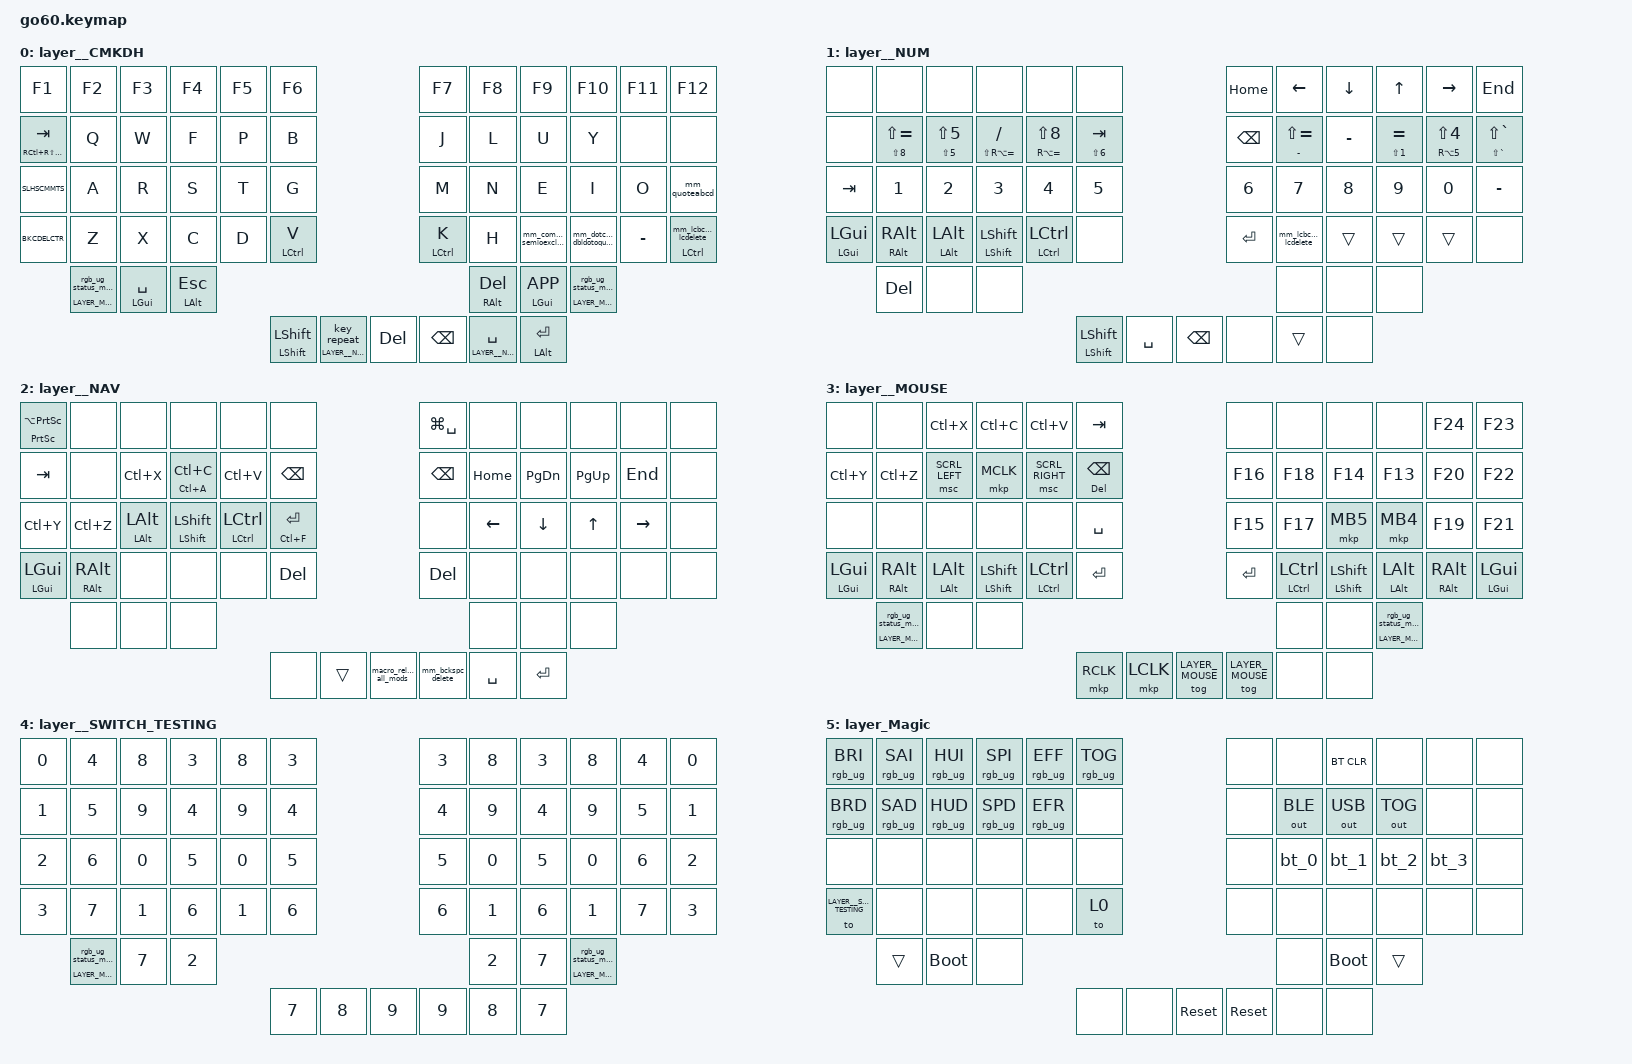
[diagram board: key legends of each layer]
/*
 * Copyright (c) 2020 The ZMK Contributors
 * Copyright (c) 2025 Innaworks Development Limited, trading as MoErgo
 *
 * SPDX-License-Identifier: MIT
 */



/* THIS FILE WAS GENERATED BY GO60 LAYOUT EDITOR
 *
 * This file was generated automatically. You may or may not want to
 * edit it directly.
 */

#include <behaviors.dtsi>

/* Include all behavior includes needed */

#include <dt-bindings/zmk/outputs.h>
#include <dt-bindings/zmk/keys.h>
#include <dt-bindings/zmk/bt.h>
#include <dt-bindings/zmk/rgb.h>

#include <input/processors.dtsi>
#include <dt-bindings/zmk/input_transform.h>
#include <zephyr/dt-bindings/input/input-event-codes.h>

/* On demand includes */
#include <dt-bindings/zmk/input_transform.h>
#include <dt-bindings/zmk/pointing.h>
#include <input/processors.dtsi>

/* Helper Macros, based on https://github.com/urob/zmk-helpers/ */

#pragma once

#define ZMK_HELPER_STRINGIFY(x) #x

// Preprocessor mechanism to overload macros, cf. https://stackoverflow.com/a/27051616/6114651
#define VARGS_(_10, _9, _8, _7, _6, _5, _4, _3, _2, _1, N, ...) N
#define VARGS(...) VARGS_(__VA_ARGS__, 10, 9, 8, 7, 6, 5, 4, 3, 2, 1, 0)
#define CONCAT_(a, b) a##b
#define CONCAT(a, b) CONCAT_(a, b)

#define ZMK_BEHAVIOR_CORE_tap_dance  \
    compatible = "zmk,behavior-tap-dance"; \
    #binding-cells = <0>

#define ZMK_BEHAVIOR(name, type, ...) \
    name: name { \
        ZMK_BEHAVIOR_CORE_ ## type; \
        __VA_ARGS__ \
    };

#define ZMK_TAP_DANCE(name, ...) \
    ZMK_BEHAVIOR(name, tap_dance, __VA_ARGS__)

#define ZMK_TD_LAYER(name, layer) \
    ZMK_TAP_DANCE(name, \
        tapping-term-ms = <200>; \
        bindings = <&mo layer>, <&to layer>; \
)





/* Key positions */

#define POS_LH_C6R1 0
#define POS_LH_C5R1 1
#define POS_LH_C4R1 2
#define POS_LH_C3R1 3
#define POS_LH_C2R1 4
#define POS_LH_C1R1 5
#define POS_RH_C1R1 6
#define POS_RH_C2R1 7
#define POS_RH_C3R1 8
#define POS_RH_C4R1 9
#define POS_RH_C5R1 10
#define POS_RH_C6R1 11
#define POS_LH_C6R2 12
#define POS_LH_C5R2 13
#define POS_LH_C4R2 14
#define POS_LH_C3R2 15
#define POS_LH_C2R2 16
#define POS_LH_C1R2 17
#define POS_RH_C1R2 18
#define POS_RH_C2R2 19
#define POS_RH_C3R2 20
#define POS_RH_C4R2 21
#define POS_RH_C5R2 22
#define POS_RH_C6R2 23
#define POS_LH_C6R3 24
#define POS_LH_C5R3 25
#define POS_LH_C4R3 26
#define POS_LH_C3R3 27
#define POS_LH_C2R3 28
#define POS_LH_C1R3 29
#define POS_RH_C1R3 30
#define POS_RH_C2R3 31
#define POS_RH_C3R3 32
#define POS_RH_C4R3 33
#define POS_RH_C5R3 34
#define POS_RH_C6R3 35
#define POS_LH_C6R4 36
#define POS_LH_C5R4 37
#define POS_LH_C4R4 38
#define POS_LH_C3R4 39
#define POS_LH_C2R4 40
#define POS_LH_C1R4 41
#define POS_RH_C1R4 42
#define POS_RH_C2R4 43
#define POS_RH_C3R4 44
#define POS_RH_C4R4 45
#define POS_RH_C5R4 46
#define POS_RH_C6R4 47
#define POS_LH_C4R5 48
#define POS_LH_C3R5 49
#define POS_LH_C2R5 50
#define POS_RH_C2R5 51
#define POS_RH_C3R5 52
#define POS_RH_C4R5 53
#define POS_LH_T1 54
#define POS_LH_T2 55
#define POS_LH_T3 56
#define POS_RH_T3 57
#define POS_RH_T2 58
#define POS_RH_T1 59


#define LEFT_HAND_KEYS \
  POS_LH_C1R1 POS_LH_C2R1 POS_LH_C3R1 POS_LH_C4R1 POS_LH_C5R1 POS_LH_C6R1 \
  POS_LH_C1R2 POS_LH_C2R2 POS_LH_C3R2 POS_LH_C4R2 POS_LH_C5R2 POS_LH_C6R2 \
  POS_LH_C1R3 POS_LH_C2R3 POS_LH_C3R3 POS_LH_C4R3 POS_LH_C5R3 POS_LH_C6R3 \
  POS_LH_C1R4 POS_LH_C2R4 POS_LH_C3R4 POS_LH_C4R4 POS_LH_C5R4 POS_LH_C6R4 \
              POS_LH_C2R5 POS_LH_C3R5 POS_LH_C4R5

#define RIGHT_HAND_KEYS \
  POS_RH_C1R1 POS_RH_C2R1 POS_RH_C3R1 POS_RH_C4R1 POS_RH_C5R1 POS_RH_C6R1 \
  POS_RH_C1R2 POS_RH_C2R2 POS_RH_C3R2 POS_RH_C4R2 POS_RH_C5R2 POS_RH_C6R2 \
  POS_RH_C1R3 POS_RH_C2R3 POS_RH_C3R3 POS_RH_C4R3 POS_RH_C5R3 POS_RH_C6R3 \
  POS_RH_C1R4 POS_RH_C2R4 POS_RH_C3R4 POS_RH_C4R4 POS_RH_C5R4 POS_RH_C6R4 \
              POS_RH_C2R5 POS_RH_C3R5 POS_RH_C4R5

#define THUMB_KEYS \
  POS_LH_T1 POS_LH_T2 POS_LH_T3 \
  POS_RH_T1 POS_RH_T2 POS_RH_T3

/* Environment and metadata defines */
#define KB_TYPE_GLOVE_80 1
#define KB_TYPE_GO_60    2

#define KB_TYPE          KB_TYPE_GO_60
#define EDITOR_HOST_OS   'W'

/* Automatically generated layer name defines */
#define LAYER__CMKDH 0
#define LAYER__NUM 1
#define LAYER__NAV 2
#define LAYER__MOUSE 3
#define LAYER__SWITCH_TESTING 4
#define LAYER_Magic 5

/* To deal with the situation where there is no Lower layer, to keep &lower happy */
#ifndef LAYER_Lower
#define LAYER_Lower 0
#endif

/* Generated input processors */
/ {
    input_processors {
        zip_button_behavior_0: zip_button_behavior_0 {
            compatible = "zmk,input-processor-behaviors";
            #input-processor-cells = <0>;
            codes = <INPUT_BTN_0>;
            bindings = <&none>;
        };

        zip_button_behavior_1: zip_button_behavior_1 {
            compatible = "zmk,input-processor-behaviors";
            #input-processor-cells = <0>;
            codes = <INPUT_BTN_0>;
            bindings = <&none>;
        };
    };
};

/* Custom Device-tree */
//#define TESTGITHUB  YES
//#define ENABLE_ADAPTIVE YES

#ifdef TESTGITHUB
  #include <behaviors/force_case.dtsi>
#endif

&sl {
  release-after-ms = <600>;                        // medium timeout as the default for sticky layers
};
&sk {
	release-after-ms = <3000>;                     // long timeout as the default for sticky keys so one shots can be stacked, but this doesn't work well when stacking mods
	quick-release;
	//        lazy;                                // with this it doesn't work with mod-morph
	ignore-modifiers;
};



// ************************************************************************************************************************************************************************************************
// ************************************************************************************************************************************************************************************************
// ************************************************************************************************************************************************************************************************



////////////////////////////////////////////////////////////////
// TailorKey 4.2 Go60 - RGB Lighting 
// Paste this configuration into the Custom Device-tree section
// For more into, see https://sites.google.com/view/tailorkey
////////////////////////////////////////////////////////////////



#if __has_include(<dt-bindings/zmk/rgb_colors.h>)
  //
  // Color definitions with conflict guard to prevent
  // accidental redefinition of common abbreviations.
  //
  #if defined(RED) || defined(RED_RGB) || \
	  defined(COR) || defined(COR_RGB) || \
	  defined(ORN) || defined(ORN_RGB) || \
	  defined(GDN) || defined(GDN_RGB) || \
	  defined(GOL) || defined(GOL_RGB) || \
	  defined(YLW) || defined(YLW_RGB) || \
	  defined(CHU) || defined(CHU_RGB) || \
	  defined(GRN) || defined(GRN_RGB) || \
	  defined(SPG) || defined(SPG_RGB) || \
	  defined(CYN) || defined(CYN_RGB) || \
	  defined(AZU) || defined(AZU_RGB) || \
	  defined(TEA) || defined(TEA_RGB) || \
	  defined(TUR) || defined(TUR_RGB) || \
	  defined(BLU) || defined(BLU_RGB) || \
	  defined(PUR) || defined(PUR_RGB) || \
	  defined(MAJ) || defined(MAJ_RGB) || \
	  defined(PNK) || defined(PNK_RGB) || \
	  defined(WHT) || defined(WHT_RGB) || \
	  defined(BLK) || defined(BLK_RGB) || \
	  defined(___) || \
	  defined(DUG) || defined(DUG_RGB) || \
	  defined(LAC) || defined(LAC_RGB) || \
	  defined(BSL) || defined(BNL) || defined(BCL) || \
	  defined(SSL) || defined(SNL) || defined(SCL) || \
	  defined(FST) || defined(WRP) || defined(SLO)
  #error "Naming conflict: 3-letter color abbreviation already defined!"
  #endif

  //
  // color definitions from QMK
  // https://github.com/qmk/qmk_firmware/blob/master/quantum/color.h
  //
  #define RED_RGB 0xFF0000 // #FF0000 RED      => RED (red)
  #define COR_RGB 0xFF7C4D // #FF7C4D CORAL    => COR (coral)
  #define ORN_RGB 0xFF8000 // #FF8000 ORANGE   => ORN (ornj)
  #define GDN_RGB 0xD9A521 // #D9A521 GOLDNROD => GDN (gold'nrod)
  #define GOL_RGB 0xFFD900 // #FFD900 GOLD     => GOL (gold)
  #define YLW_RGB 0xFFFF00 // #FFFF00 YELLOW   => YLW (yellow)
  #define CHU_RGB 0x80FF00 // #80FF00 CHARTRSE => CHU (chartreuse)
  #define GRN_RGB 0x00FF00 // #00FF00 GREEN    => GRN (green)
  #define SPG_RGB 0x00FF80 // #00FF80 SPRINGRN => SPG (spring green)
  #define CYN_RGB 0x00FFFF // #00FFFF CYAN     => CYN (sigh-an)
  #define AZU_RGB 0x99F5FF // #99F5FF AZURE    => AZU (a-zur)
  #define TEA_RGB 0x008080 // #008080 TEAL     => TEA (teel)
  #define TUR_RGB 0x476E6A // #476E6A TURQUOIS => TUR (turquoise)
  #define BLU_RGB 0x0000FF // #0000FF BLUE     => BLU (bloo)
  #define PUR_RGB 0x7A00FF // #7A00FF PURPLE   => PUR (purp)
  #define MAJ_RGB 0xFF00FF // #FF00FF MAGENTA  => MAJ (mah-jenta)
  #define PNK_RGB 0xFF80BF // #FF80BF PINK     => PNK (pink)
  #define WHT_RGB 0xFFFFFF // #FFFFFF WHITE    => WHT (white)
  #define BLK_RGB 0x000000 // #000000 BLACK    => BLK (blak)

  //
  // color definitions from MoErgo
  // https://github.com/moergo-sc/zmk/blob/aca523dfce9b6447ffd19d833b791d44f1f286de/app/src/rgb_underglow.c#L259-L265
  //
  #define DUG_RGB 0x00ff68 // #00ff68 DULL_GRN => DUG (dull green)
  #define LAC_RGB 0x6b1fce // #6b1fce LILAC    => LAC (lilac)

  //
  // underglow for the colors above
  //
  #define RED &ug RED_RGB
  #define COR &ug COR_RGB
  #define ORN &ug ORN_RGB
  #define GDN &ug GDN_RGB
  #define GOL &ug GOL_RGB
  #define YLW &ug YLW_RGB
  #define CHU &ug CHU_RGB
  #define GRN &ug GRN_RGB
  #define SPG &ug SPG_RGB
  #define CYN &ug CYN_RGB
  #define AZU &ug AZU_RGB
  #define TEA &ug TEA_RGB
  #define TUR &ug TUR_RGB
  #define BLU &ug BLU_RGB
  #define PUR &ug PUR_RGB
  #define MAJ &ug MAJ_RGB
  #define PNK &ug PNK_RGB
  #define WHT &ug WHT_RGB
  #define ___ &ug BLK_RGB
  #define _X_ &ug BLK_RGB
  #define DUG &ug DUG_RGB
  #define LAC &ug LAC_RGB
  
  

  //
  // underglow for keyboard locks on the Base layer
  //
  #define BSL &ug_sl BLK_RGB RED_RGB // ScrollLock COLOR_OFF COLOR_ON
  #define BNL &ug_nl BLK_RGB RED_RGB // NumLock    COLOR_OFF COLOR_ON
  #define BCL &ug_cl BLK_RGB RED_RGB // CapsLock   COLOR_OFF COLOR_ON
 
  // same color as the layer editor decorations 
  #define HOM &ug 0x00C3C3    // TEA // for home/main keyr (home keys numpad keys in numpad layer)
  #define MOD &ug 0xBBFCFC // mod-tap keys
  #define XMD &ug 0x97fcfc // mod dedicated
  #define LYR &ug 0xfafa66 // for layer/tap keys
  #define XLY &ug 0xEEEE00 // for layer - dedicated
  #define MUL CHU // for 3+ functions HT or TD keys
  #define SPL PUR // for special keys (magic key, reset, reboot)
  
  

  //
  // colors for mouse speed scaling in Mouse layers
  //
  #define FST GOL
  #define WRP CHU
  #define SLO COR



  // ==== PER-KEY-RGB <section begins> ====
  / {
	underglow-layer {
	  compatible = "zmk,underglow-layer";

	  /*
	  #ifdef LAYER__EMPTY
	  _CMKDH  {
    bindings = <
	
    ___ ___ ___ ___ ___ ___           ___ ___ ___ ___ ___ ___
    ___ ___ ___ ___ ___ ___           ___ ___ ___ ___ ___ ___
    ___ ___ ___ ___ ___ ___           ___ ___ ___ ___ ___ ___
    ___ ___ ___ ___ ___ ___           ___ ___ ___ ___ ___ ___
        ___ ___ ___                           ___ ___ ___ 
                	___ ___ ___   ___ ___ ___ 
					
		>;
		layer-id = <LAYER__EMPTY>;		
		fade-delay = <30>;	  };
	  #endif
*/
   
	  #ifdef LAYER__CMKDH
	  _CMKDH  {
    bindings = <
	
    MUL MUL MUL MUL MUL MUL           BCL ___ ___ ___ ___ ___
    ___ ___ ___ ___ ___ ___           ___ ___ ___ ___ ___ SPL
    MUL HOM HOM HOM HOM ___           ___ HOM HOM HOM HOM MUL
    MOD ___ ___ ___ ___ ___           ___ ___ MUL MUL MUL MOD
        SPL MOD MOD                           MOD MOD SPL
                    XMD LYR LYR   MOD LYR LYR
					
		>;
		layer-id = <LAYER__CMKDH>;		
		fade-delay = <5>;	  };
	  #endif


	  
     #ifdef LAYER__NUM
	  _NUM  {
    bindings = <
	
    ___ ___ ___ ___ ___ ___           ___ ___ ___ ___ ___ ___
    ___ ___ ___ ___ ___ ___           ___ ___ ___ ___ ___ ___
    ___ HOM HOM HOM HOM HOM           HOM HOM HOM HOM HOM ___
    XMD XMD XMD XMD XMD MUL           ___ ___ MUL MUL MUL ___
        ___ ___ ___                           ___ ___ ___ 
                	XMD ___ ___   ___ _X_ ___ 
					
		>;
		layer-id = <LAYER__NUM>;		
		fade-delay = <2>;	  };
	  #endif  	

	  
	  
     #ifdef LAYER__NAV
	  _NAV  {
    bindings = <
	
    ___ SPL SPL SPL SPL ___           SPL ___ ___ ___ SPL SPL
    ___ ___ ___ ___ ___ ___           ___ ___ ___ ___ ___ ___
    ___ ___ XLY XMD XMD ___           ___ HOM HOM HOM HOM ___
    XMD XMD ___ ___ ___ ___           ___ ___ ___ ___ ___ XLY
        ___ ___ ___                           ___ ___ ___ 
                	___ _X_ ___   ___ ___ ___ 
					
		>;
		layer-id = <LAYER__NAV>;		
		fade-delay = <2>;	  };
	 #endif  

	 
	 #ifdef LAYER__MOUSE
	  _MOUSE  {
    bindings = <
	
    ___ ___ ___ ___ ___ ___           ___ ___ ___ ___ ___ ___
    ___ ___ ___ HOM ___ ___           ___ ___ ___ ___ ___ ___
    ___ XLY XLY XLY XLY RED           RED ___ HOM HOM ___ ___
    XMD XMD XMD XMD XMD RED           RED XMD XMD XMD XMD XMD
        SPL ___ ___                           ___ ___ SPL 
                	RED ___ XLY   RED ___ XLY 
					
		>;
		layer-id = <LAYER__MOUSE>;		
		fade-delay = <5>;	  };
	 #endif	 
	 
	 
	
	 #ifdef LAYER__SWITCH_TESTING
	  _SWITCH_TESTING  {
    bindings = <
	
    BSL BCL BNL BSL BCL BNL           BNL BCL BSL BNL BCL BSL
    ___ ___ ___ ___ ___ ___           ___ ___ ___ ___ ___ ___
    ___ ___ ___ ___ ___ ___           ___ ___ ___ ___ ___ ___
    ___ ___ ___ ___ ___ ___           ___ ___ ___ ___ ___ ___
        SPL ___ ___                           ___ ___ SPL 
                	___ ___ ___   ___ ___ ___ 
					
		>;
		layer-id = <LAYER__SWITCH_TESTING>;		
		fade-delay = <5>;	  };
	 #endif	 


	 #ifdef LAYER_Magic
	  Magic  {
    bindings = <
	
    SPL ___ ___ ___ SPL SPL           ___ ___ ___ ___ ___ ___
    SPL ___ ___ ___ SPL ___           ___ HOM HOM HOM ___ ___
    ___ ___ ___ ___ ___ ___           ___ HOM HOM HOM HOM ___
    XLY ___ XLY XLY XLY XLY           ___ ___ ___ ___ ___ ___
        SPL SPL ___                           ___ SPL SPL 
                	___ ___ ___   ___ ___ ___ 
					
		>;
		layer-id = <LAYER_Magic>;		
		fade-delay = <5>;	  };
	 #endif	  


	 
 

	};
  };
  // ==== PER-KEY-RGB <section ends> =====

  #undef RED
  #undef RED_RGB
  #undef COR
  #undef COR_RGB
  #undef ORN
  #undef ORN_RGB
  #undef GDN
  #undef GDN_RGB
  #undef GOL
  #undef GOL_RGB
  #undef YLW
  #undef YLW_RGB
  #undef CHU
  #undef CHU_RGB
  #undef GRN
  #undef GRN_RGB
  #undef SPG
  #undef SPG_RGB
  #undef CYN
  #undef CYN_RGB
  #undef AZU
  #undef AZU_RGB
  #undef TEA
  #undef TEA_RGB
  #undef TUR
  #undef TUR_RGB
  #undef BLU
  #undef BLU_RGB
  #undef PUR
  #undef PUR_RGB
  #undef MAJ
  #undef MAJ_RGB
  #undef PNK
  #undef PNK_RGB
  #undef WHT
  #undef WHT_RGB
  #undef BLK
  #undef BLK_RGB
  #undef ___
  #undef DUG
  #undef DUG_RGB
  #undef LAC
  #undef LAC_RGB

  #undef BSL
  #undef BNL
  #undef BCL

  #undef SSL
  #undef SNL
  #undef SCL

  #undef FST
  #undef WRP
  #undef SLO
#endif





/* Input Listeners */
&cirque_rh_listener {
    input-processors = <&zip_xy_scaler 2 1>, <&zip_temp_layer LAYER__MOUSE 9999>;
};

&cirque_lh_listener {
    input-processors = <&zip_x_scaler 0 1>, <&zip_y_scaler 1 16>, <&zip_xy_transform INPUT_TRANSFORM_Y_INVERT>, <&zip_xy_to_scroll_mapper>, <&zip_button_behavior_0>, <&zip_temp_layer LAYER__MOUSE 10000>;
    layer__MOUSE {
        layers = <LAYER__MOUSE>;
        input-processors = <&zip_x_scaler 0 1>, <&zip_y_scaler 1 16>, <&zip_xy_transform INPUT_TRANSFORM_Y_INVERT>, <&zip_xy_to_scroll_mapper>, <&zip_button_behavior_1>;
    };
};

/* System behavior and macros */
/ {
    behaviors {
        ZMK_TD_LAYER(lower, LAYER_Lower)
    };
};

/ {
    macros {
        rgb_ug_status_macro: rgb_ug_status_macro {
            label = "RGB_UG_STATUS";
            compatible = "zmk,behavior-macro";
            #binding-cells = <0>;
            bindings
                = <&rgb_ug RGB_STATUS>;
        };
    };
};

/ {
#ifdef BT_DISC_CMD
    behaviors {
        bt_0: bt_0 {
            compatible = "zmk,behavior-tap-dance";
            label = "BT_0";
            #binding-cells = <0>;
            tapping-term-ms = <200>;
            bindings = <&bt_select_0>, <&bt BT_DISC 0>;
        };
        bt_1: bt_1 {
            compatible = "zmk,behavior-tap-dance";
            label = "BT_1";
            #binding-cells = <0>;
            tapping-term-ms = <200>;
            bindings = <&bt_select_1>, <&bt BT_DISC 1>;
        };
        bt_2: bt_2 {
            compatible = "zmk,behavior-tap-dance";
            label = "BT_2";
            #binding-cells = <0>;
            tapping-term-ms = <200>;
            bindings = <&bt_select_2>, <&bt BT_DISC 2>;
        };
        bt_3: bt_3 {
            compatible = "zmk,behavior-tap-dance";
            label = "BT_3";
            #binding-cells = <0>;
            tapping-term-ms = <200>;
            bindings = <&bt_select_3>, <&bt BT_DISC 3>;
        };
    };
    macros {
        bt_select_0: bt_select_0 {
            label = "BT_SELECT_0";
            compatible = "zmk,behavior-macro";
            #binding-cells = <0>;
            bindings
                = <&out OUT_BLE>,
                  <&bt BT_SEL 0>;
        };
        bt_select_1: bt_select_1 {
            label = "BT_SELECT_1";
            compatible = "zmk,behavior-macro";
            #binding-cells = <0>;
            bindings
                = <&out OUT_BLE>,
                  <&bt BT_SEL 1>;
        };
        bt_select_2: bt_select_2 {
            label = "BT_SELECT_2";
            compatible = "zmk,behavior-macro";
            #binding-cells = <0>;
            bindings
                = <&out OUT_BLE>,
                  <&bt BT_SEL 2>;
        };
        bt_select_3: bt_select_3 {
            label = "BT_SELECT_3";
            compatible = "zmk,behavior-macro";
            #binding-cells = <0>;
            bindings
                = <&out OUT_BLE>,
                  <&bt BT_SEL 3>;
        };
    };
#else
    macros {
        bt_0: bt_0 {
            label = "BT_0";
            compatible = "zmk,behavior-macro";
            #binding-cells = <0>;
            bindings
                = <&out OUT_BLE>,
                  <&bt BT_SEL 0>;
        };
        bt_1: bt_1 {
            label = "BT_1";
            compatible = "zmk,behavior-macro";
            #binding-cells = <0>;
            bindings
                = <&out OUT_BLE>,
                  <&bt BT_SEL 1>;
        };
        bt_2: bt_2 {
            label = "BT_2";
            compatible = "zmk,behavior-macro";
            #binding-cells = <0>;
            bindings
                = <&out OUT_BLE>,
                  <&bt BT_SEL 2>;
        };
        bt_3: bt_3 {
            label = "BT_3";
            compatible = "zmk,behavior-macro";
            #binding-cells = <0>;
            bindings
                = <&out OUT_BLE>,
                  <&bt BT_SEL 3>;
        };
    };
#endif
};

/ {
    behaviors {
        magic: magic {
            compatible = "zmk,behavior-hold-tap";
            label = "MAGIC_HOLD_TAP";
            #binding-cells = <2>;
            flavor = "tap-preferred";
            tapping-term-ms = <200>;
            bindings = <&mo>, <&rgb_ug_status_macro>;
        };
    };
};


/* Custom Defined Behaviors */
/ {
// ENABLE  NEXT DEFINE IN ORDER TO ALLOW MODULES BY COMPILING IN GITHUB
// DISABLE NEXT DEFINE IN ORDER TO ALLOW COMPILING IN THE LAYOUT EDITOR


#define SLHSCMMTS    ht_slashes_iniendcomments 0 0                //  /  \     / *  * /
#define BKCDELCTR    ht_backspace_delete_ctrl LCTRL 0             // ⌫ ⌦ ⎈


behaviors {
// ******************************************************************** 
// ******************************************************************** 
// ******************************************************************** 
  #ifdef TESTGITHUB                                  // won't be included if it's not defined
    
    #define KEY_TEST__    fucase A
  #endif


// ******************************************************************** 
// ******************************************************************** 
// ******************************************************************** 


  sk_quick: sticky_key_quick_release {            // to use with Sticky shift/rep/nav
    compatible = "zmk,behavior-sticky-key";
    #binding-cells = <1>;
    bindings = <&kp>;
    release-after-ms = <600>;
    quick-release;
    ignore-modifiers;
  };



  // *
  // *
  // ******************************************************************** STICKY LAYER DO


  // , → ;
  mm_comma_semi: mm_comma_semi{ compatible = "zmk,behavior-mod-morph";   #binding-cells = <0>; 
    bindings = <&kp COMMA>, <&kp SEMI>;   mods = <(MOD_LSFT|MOD_RSFT)>;
  };






  #ifdef TESTGITHUB          // 

  #endif
  


  // *
  // *
  // ******************************************************************** / \   / *  * /  
  //  / → \   ___
  mm_slash_backslash: mm_slash_backslash{
    compatible = "zmk,behavior-mod-morph";
    #binding-cells = <0>;
    bindings = <&kp FSLH>, <&kp NON_US_BSLH>;
    mods = <(MOD_LSFT|MOD_RSFT)>;
  };

  // / * → * /  __
  mm_inicomment_endcomment: mm_inicomment_endcomment{
    compatible = "zmk,behavior-mod-morph";
    #binding-cells = <0>;
    bindings = <&macroUI_1tap_1tap FSLH LS(N8)>, <&macroUI_1tap_1tap LS(N8) FSLH>;
    mods = <(MOD_LSFT|MOD_RSFT)>;
  };

  //  /  \     / *  * /
  ht_slashes_iniendcomments: ht_slashes_iniendcomments{label = "ht_slashes_iniendcomments";  compatible = "zmk,behavior-hold-tap"; #binding-cells = <2>;
    tapping-term-ms = <280>; quick-tap-ms = <125>; flavor = "tap-preferred";
    bindings = <&mm_inicomment_endcomment>, <&mm_slash_backslash>;  
  };

  // *
  // *
  // ******************************************************************** ' ` " ^
  // ' (") → ` (^)
  mm_quoteabcd: mm_quoteabcd{
    compatible = "zmk,behavior-mod-morph";    #binding-cells = <0>;
    bindings = <&HTUI_1tap_1tap LS(SQT) SQT>, <&HTUI_1tap_1tap LS(N6) GRAVE>;    mods = <(MOD_LSFT|MOD_RSFT)>;
  };

  // *
  // *
  // ******************************************************************** ⌫ ⌦ ⎈ 
  //  ⌫ → ⌦
  mm_bckspc_delete: mm_bckspc_delete{
    compatible = "zmk,behavior-mod-morph";
    #binding-cells = <0>;
    bindings = <&kp BSPC>, <&kp DEL>;
    mods = <(MOD_LSFT|MOD_RSFT|MOD_LALT)>;
  };
  //  ⎈⌫ → ⎈⌦
  mm_lcbckspc_lcdelete: mm_lcbckspc_lcdelete{
    compatible = "zmk,behavior-mod-morph";
    #binding-cells = <0>;
    bindings = <&kp LC(BSPC)>, <&kp LC(DEL)>;
    mods = <(MOD_LSFT|MOD_RSFT|MOD_LALT)>;
  };

  //  ⌫ ⌦ ⎈
  ht_backspace_delete_ctrl: ht_backspace_delete_ctrl{label = "ht_backspace_delete_ctrl";  compatible = "zmk,behavior-hold-tap"; #binding-cells = <2>;
    tapping-term-ms = <200>; quick-tap-ms = <125>; flavor = "hold-preferred";
    bindings = <&kp>, <&mm_bckspc_delete>;  
  };
  //  ⌫W ⌦W ⎈  delete word backwards and forward with a single tap or CTRL when hold
  ht_delword_ctrl: ht_delword_ctrl{label = "ht_delword_ctrl";  compatible = "zmk,behavior-hold-tap"; #binding-cells = <2>;
    tapping-term-ms = <200>; quick-tap-ms = <125>; flavor = "hold-preferred";
    bindings = <&kp>, <&mm_lcbckspc_lcdelete>;  
  };


  // *
  // *
  // ******************************************************************** . :   > ≥   
  // , (!) → ; (¡)
  mm_commacexclam_semioexclam: mm_commacexclam_semioexclam{ compatible = "zmk,behavior-mod-morph";   #binding-cells = <0>; 
    bindings = <&HTUI_1tap_kp_tpref LS(N1) COMMA>, <&HTUI_1tap_kp_tpref RA(N1) SEMI>;   mods = <(MOD_LSFT|MOD_RSFT)>;
  };
  // . (?) → : (¿)
  mm_dotcquest_dbldotoquest: mm_dotcquest_dbldotoquest{ compatible = "zmk,behavior-mod-morph";   #binding-cells = <0>; 
    bindings = <&HTUI_1tap_kp_tpref LS(FSLH) DOT>, <&HTUI_1tap_kp_tpref RA(FSLH) LS(SEMI)>;   mods = <(MOD_LSFT|MOD_RSFT)>;
  };



  // ******************************************************************** custom_caps_word   NOT 
  caps_word {
    continue-list = <
      UNDERSCORE MINUS LS(MINUS) 
      BACKSPACE DELETE
      N1 N2 N3 N4 N5 N6 N7 N8 N9 N0 SQT LS(SQT)  LS(N9) LS(N0) FSLH BSLH LS(COMMA) LS(SEMI) LS(DOT) LS(BSLH) 
    >;
  };




};
  






};

/* Automatically generated macro definitions */
/ {
    macros {

        // Just shifts the key sent with a parameter. Chained to &HTUI_AUTOSHIFT_shiftkey_kp and &macroUI_AUTOSHIFT_SHIFTKEY
        macroUI_AUTOSHIFT_SHIFTKEY: macroUI_AUTOSHIFT_SHIFTKEY {
            label = "&MACROUI_AUTOSHIFT_SHIFTKEY";
            compatible = "zmk,behavior-macro-one-param";
            #binding-cells = <1>;
            tap-ms = <0>;
            wait-ms = <0>;
            bindings = <&macro_press>
                , <&kp LSHFT>
                , <&macro_tap>
                , <&macro_param_1to1>
                , <&kp MACRO_PLACEHOLDER>
                , <&macro_release>
                , <&kp LSHFT>;
        };

        macro_release_all_mods: macro_release_all_mods {
            label = "&MACRO_RELEASE_ALL_MODS";
            compatible = "zmk,behavior-macro";
            #binding-cells = <0>;
            bindings = <&macro_release>
                , <&kp LGUI>
                , <&kp RGUI>
                , <&kp LALT>
                , <&kp RALT>
                , <&kp LSHFT>
                , <&kp RSHFT>
                , <&kp LCTRL>
                , <&kp RCTRL>;
        };

        macroBothBrace: macroBothBrace {
            label = "&MACROBOTHBRACE";
            compatible = "zmk,behavior-macro";
            #binding-cells = <0>;
            tap-ms = <0>;
            wait-ms = <0>;
            bindings = <&kp LS(LBKT)>
                , <&kp LS(RBKT)>;
        };

        macroBothBracket: macroBothBracket {
            label = "&MACROBOTHBRACKET";
            compatible = "zmk,behavior-macro";
            #binding-cells = <0>;
            tap-ms = <0>;
            wait-ms = <0>;
            bindings = <&kp LBKT>
                , <&kp RBKT>;
        };

        macroBothPar: macroBothPar {
            label = "&MACROBOTHPAR";
            compatible = "zmk,behavior-macro";
            #binding-cells = <0>;
            tap-ms = <0>;
            wait-ms = <0>;
            bindings = <&kp LS(N9)>
                , <&kp LS(N0)>;
        };

        // Reusable macro for sending single taps, often with the purpose of avoiding repeating a tap on hold-taps
        macroUI_1tap: macroUI_1tap {
            label = "&MACROUI_1TAP";
            compatible = "zmk,behavior-macro-one-param";
            #binding-cells = <1>;
            tap-ms = <0>;
            wait-ms = <0>;
            bindings = <&macro_tap>
                , <&macro_param_1to1>
                , <&kp MACRO_PLACEHOLDER>;
        };

        // For encapsulating two taps with two parameters into a single macro to be used in other behaviors
        macroUI_1tap_1tap: macroUI_1tap_1tap {
            label = "&MACROUI_1TAP_1TAP";
            compatible = "zmk,behavior-macro-two-param";
            #binding-cells = <2>;
            tap-ms = <0>;
            wait-ms = <0>;
            bindings = <&macro_tap>
                , <&macro_param_1to1>
                , <&kp MACRO_PLACEHOLDER>
                , <&macro_param_2to1>
                , <&kp MACRO_PLACEHOLDER>;
        };

        // To send special characters using the Eurkey layout
        macroUI_EurkeySHFTM: macroUI_EurkeySHFTM {
            label = "&MACROUI_EURKEYSHFTM";
            compatible = "zmk,behavior-macro-one-param";
            #binding-cells = <1>;
            tap-ms = <0>;
            wait-ms = <0>;
            bindings = <&macro_tap>
                , <&kp LS(RA(M))>
                , <&macro_param_1to1>
                , <&kp MACRO_PLACEHOLDER>;
        };

        // “ ”
        macroBothAsymmetricQuote: macroBothAsymmetricQuote {
            label = "&MACROBOTHASYMMETRICQUOTE";
            compatible = "zmk,behavior-macro";
            #binding-cells = <0>;
            tap-ms = <0>;
            wait-ms = <0>;
            bindings = <&kp RA(N9)>
                , <&kp RA(N0)>;
        };
    };
};

/* Automatically generated behavior definitions */
/ {
    behaviors {


        // Called from macroUI_AUTOSHIFT_HOLDTAP so with a single parameter can be used twice, once for the hold and once for the tap.
        HTUI_AUTOSHIFT_shiftkey_kp: HTUI_AUTOSHIFT_shiftkey_kp {
            compatible = "zmk,behavior-hold-tap";
            #binding-cells = <2>;
            tapping-term-ms = <250>;
            bindings = <&macroUI_AUTOSHIFT_SHIFTKEY>, <&kp>;
            flavor = "tap-preferred";
        };

        // Encapsulating hold-taps for using them in tap-dances
        HTUI_1tap_1tap: HTUI_1tap_1tap {
            compatible = "zmk,behavior-hold-tap";
            #binding-cells = <2>;
            tapping-term-ms = <250>;
            bindings = <&macroUI_1tap>, <&macroUI_1tap>;
            flavor = "tap-preferred";
        };

        HTUI_1tap_kp_tpref: HTUI_1tap_kp_tpref {
            compatible = "zmk,behavior-hold-tap";
            #binding-cells = <2>;
            tapping-term-ms = <250>;
            bindings = <&macroUI_1tap>, <&kp>;
            flavor = "tap-preferred";
            quick-tap-ms = <200>;
            require-prior-idle-ms = <0>;
        };

        HTUI_1tap_kp_tpref_350: HTUI_1tap_kp_tpref_350 {
            compatible = "zmk,behavior-hold-tap";
            #binding-cells = <2>;
            tapping-term-ms = <350>;
            bindings = <&macroUI_1tap>, <&kp>;
            flavor = "tap-preferred";
            quick-tap-ms = <200>;
            require-prior-idle-ms = <0>;
        };

        HTUI_bothbrace_bothpar: HTUI_bothbrace_bothpar {
            compatible = "zmk,behavior-hold-tap";
            #binding-cells = <2>;
            tapping-term-ms = <350>;
            bindings = <&macroBothBrace>, <&macroBothPar>;
            flavor = "tap-preferred";
            require-prior-idle-ms = <150>;
        };

        // For sending special Eurkey character from first parameter and a regular one from the second with a macro to avoid repeat keys.
        HTUI_EurShft_1tap: HTUI_EurShft_1tap {
            compatible = "zmk,behavior-hold-tap";
            #binding-cells = <2>;
            tapping-term-ms = <200>;
            bindings = <&macroUI_EurkeySHFTM>, <&macroUI_1tap>;
            flavor = "tap-preferred";
        };

        // For sending special Eurkey character from first parameter and a regular tap from the second
        HTUI_EurShft_EurShft: HTUI_EurShft_EurShft {
            compatible = "zmk,behavior-hold-tap";
            #binding-cells = <2>;
            tapping-term-ms = <200>;
            bindings = <&macroUI_EurkeySHFTM>, <&macroUI_EurkeySHFTM>;
            flavor = "tap-preferred";
        };

        // For sending special Eurkey character from first parameter and a regular tap from the second
        HTUI_EurShft_kp: HTUI_EurShft_kp {
            compatible = "zmk,behavior-hold-tap";
            #binding-cells = <2>;
            tapping-term-ms = <400>;
            bindings = <&macroUI_EurkeySHFTM>, <&kp>;
            flavor = "tap-preferred";
        };

        // Generic hold-tap with quick tap
        HTUI_kp_kp_tpref_250_200_125: HTUI_kp_kp_tpref_250_200_125 {
            compatible = "zmk,behavior-hold-tap";
            #binding-cells = <2>;
            tapping-term-ms = <250>;
            bindings = <&kp>, <&kp>;
            flavor = "tap-preferred";
            quick-tap-ms = <200>;
            require-prior-idle-ms = <125>;
        };

        // Generic hold-tap with quick tap
        HTUI_kp_kp_tpref_350_200_200: HTUI_kp_kp_tpref_350_200_200 {
            compatible = "zmk,behavior-hold-tap";
            #binding-cells = <2>;
            tapping-term-ms = <350>;
            bindings = <&kp>, <&kp>;
            flavor = "tap-preferred";
            quick-tap-ms = <200>;
            require-prior-idle-ms = <200>;
        };

        HTUI_kp_sk_tpref_250_0_0: HTUI_kp_sk_tpref_250_0_0 {
            compatible = "zmk,behavior-hold-tap";
            #binding-cells = <2>;
            tapping-term-ms = <250>;
            bindings = <&kp>, <&sk>;
            flavor = "tap-preferred";
        };

        HTUI_mo_kp_tpref_250_200_50: HTUI_mo_kp_tpref_250_200_50 {
            compatible = "zmk,behavior-hold-tap";
            #binding-cells = <2>;
            tapping-term-ms = <250>;
            bindings = <&mo>, <&kp>;
            flavor = "tap-preferred";
            quick-tap-ms = <200>;
            require-prior-idle-ms = <50>;
        };

        HTUI_mo_rep_tpref_280_200_0: HTUI_mo_rep_tpref_280_200_0 {
            compatible = "zmk,behavior-hold-tap";
            #binding-cells = <2>;
            tapping-term-ms = <280>;
            bindings = <&mo>, <&key_repeat>;
            flavor = "tap-preferred";
            quick-tap-ms = <200>;
        };

        // [] “”
        HTUI_bothbracket_bothasymmquot: HTUI_bothbracket_bothasymmquot {
            compatible = "zmk,behavior-hold-tap";
            #binding-cells = <2>;
            tapping-term-ms = <350>;
            bindings = <&macroBothAsymmetricQuote>, <&macroBothBracket>;
            flavor = "tap-preferred";
            require-prior-idle-ms = <150>;
        };
    };
};

/* Automatically generated combos definitions */
/ {
    combos {
        compatible = "zmk,combos";

        combo_combo_ParBraceBoth {
            timeout-ms = <60>;
            key-positions = <POS_RH_C2R4 POS_RH_C3R4 POS_RH_C4R4>;
            bindings = <&HTUI_bothbrace_bothpar 0 0>;
            layers = <LAYER__CMKDH>;
            require-prior-idle-ms = <100>;
        };

        // <>
        combo_combo_MoreThanLessThan {
            timeout-ms = <60>;
            key-positions = <POS_LH_C4R4 POS_LH_C3R4 POS_LH_C2R4>;
            bindings = <&macroUI_1tap_1tap LS(COMMA) LS(DOT)>;
            layers = <LAYER__CMKDH LAYER__NUM>;
            require-prior-idle-ms = <200>;
        };

        // [] “”
        combo_combo_BracketAsymmQotBoth {
            timeout-ms = <60>;
            key-positions = <POS_RH_C2R2 POS_RH_C3R2 POS_RH_C4R2>;
            bindings = <&HTUI_bothbracket_bothasymmquot 0 0>;
            layers = <LAYER__CMKDH LAYER__NUM>;
            require-prior-idle-ms = <250>;
        };

        combo_TOBASE_R {
            timeout-ms = <70>;
            key-positions = <POS_RH_C6R2 POS_RH_C6R3>;
            bindings = <&to 0>;
        };

        combo_TOBASE_L {
            timeout-ms = <70>;
            key-positions = <POS_LH_C6R2 POS_LH_C6R3>;
            bindings = <&to 0>;
        };

        combo_combo_Arroba {
            timeout-ms = <50>;
            key-positions = <POS_RH_C1R3 POS_RH_C2R3>;
            bindings = <&kp LS(N2)>;
            layers = <LAYER__CMKDH LAYER__NUM>;
            require-prior-idle-ms = <200>;
        };

        // ) }
        combo_combo_ParBraceRight {
            timeout-ms = <60>;
            key-positions = <POS_RH_C3R4 POS_RH_C4R4>;
            bindings = <&HTUI_1tap_kp_tpref_350 LS(RBKT) LS(N0)>;
            layers = <LAYER__CMKDH LAYER__NUM>;
            require-prior-idle-ms = <50>;
        };

        // < ≤
        combo_combo_LessThan {
            timeout-ms = <60>;
            key-positions = <POS_LH_C4R4 POS_LH_C3R4>;
            bindings = <&HTUI_EurShft_1tap LS(COMMA) LS(COMMA)>;
            layers = <LAYER__CMKDH LAYER__NUM>;
            require-prior-idle-ms = <50>;
        };

        // > ≥
        combo_combo_MoreThan {
            timeout-ms = <60>;
            key-positions = <POS_LH_C3R4 POS_LH_C2R4>;
            bindings = <&HTUI_EurShft_1tap LS(DOT) LS(DOT)>;
            layers = <LAYER__CMKDH LAYER__NUM>;
            require-prior-idle-ms = <50>;
        };

        combo_combo_Percent {
            timeout-ms = <60>;
            key-positions = <POS_LH_C3R2 POS_LH_C2R2>;
            bindings = <&kp LS(N5)>;
            layers = <LAYER__CMKDH LAYER__NUM>;
            require-prior-idle-ms = <100>;
        };

        combo_combo_Pipe {
            timeout-ms = <60>;
            key-positions = <POS_LH_C2R2 POS_LH_C1R2>;
            bindings = <&kp LS(BSLH)>;
            layers = <LAYER__CMKDH LAYER__NUM>;
            require-prior-idle-ms = <100>;
        };

        combo_combo_Hash {
            timeout-ms = <60>;
            key-positions = <POS_RH_C1R2 POS_RH_C2R2>;
            bindings = <&kp LS(N3)>;
            layers = <LAYER__CMKDH LAYER__NUM>;
            require-prior-idle-ms = <100>;
        };

        combo_combo_Insert {
            timeout-ms = <60>;
            key-positions = <POS_RH_C3R2 POS_RH_C4R2>;
            bindings = <&kp INS>;
            layers = <LAYER__NAV>;
            require-prior-idle-ms = <100>;
        };

        // check if this position for & works well enough
        combo_combo_Amper {
            timeout-ms = <60>;
            key-positions = <POS_LH_C2R3 POS_LH_C1R3>;
            bindings = <&kp LS(N7)>;
            layers = <LAYER__CMKDH LAYER__NUM>;
            require-prior-idle-ms = <100>;
        };

        combo_combo_Asterisk {
            timeout-ms = <60>;
            key-positions = <POS_LH_C3R3 POS_LH_C2R3>;
            bindings = <&kp LS(N8)>;
            layers = <LAYER__CMKDH LAYER__NUM>;
            require-prior-idle-ms = <250>;
        };

        combo_combo_ContextMenu {
            timeout-ms = <60>;
            key-positions = <POS_LH_C2R4 POS_LH_C1R4>;
            bindings = <&kp K_CONTEXT_MENU>;
            layers = <LAYER__CMKDH LAYER__NUM>;
            require-prior-idle-ms = <100>;
        };

        // [ “
        combo_combo_BracketAsymmQotLeft {
            timeout-ms = <60>;
            key-positions = <POS_RH_C2R2 POS_RH_C3R2>;
            bindings = <&HTUI_1tap_kp_tpref_350 RA(N9) LBKT>;
            layers = <LAYER__CMKDH LAYER__NUM>;
            require-prior-idle-ms = <100>;
        };

        // ] ”
        combo_combo_BracketAsymmQotRight {
            timeout-ms = <60>;
            key-positions = <POS_RH_C3R2 POS_RH_C4R2>;
            bindings = <&HTUI_1tap_kp_tpref_350 RA(N0) RBKT>;
            layers = <LAYER__CMKDH LAYER__NUM>;
            require-prior-idle-ms = <100>;
        };

        // ( {
        combo_combo_ParBraceLeft {
            timeout-ms = <60>;
            key-positions = <POS_RH_C2R4 POS_RH_C3R4>;
            bindings = <&HTUI_1tap_kp_tpref LS(LBKT) LS(N9)>;
            layers = <LAYER__CMKDH LAYER__NUM>;
            require-prior-idle-ms = <50>;
        };
    };
};

/* Automatically generated keymap */
/ {
    keymap {
        compatible = "zmk,keymap";


        layer__CMKDH {
            bindings = <
                                        &kp F1  &kp F2                &kp F3                                    &kp F4                                  &kp F5                                 &kp F6                                                                                                                                                                                                                             &kp F7                                  &kp F8                                    &kp F9                     &kp F10    &kp F11                   &kp F12
 &HTUI_kp_kp_tpref_350_200_200 RC(RS(F23)) TAB   &kp Q                 &kp W                                     &kp F                                   &kp P                                  &kp B                                                                                                                                                                                                                              &kp J                                   &kp L                                     &kp U                       &kp Y      &none                     &none
                                    &SLHSCMMTS   &kp A                 &kp R                                     &kp S                                   &kp T                                  &kp G                                                                                                                                                                                                                              &kp M                                   &kp N                                     &kp E                       &kp I      &kp O             &mm_quoteabcd
                                    &BKCDELCTR   &kp Z                 &kp X                                     &kp C                                   &kp D  &HTUI_kp_kp_tpref_350_200_200 LCTRL V                                                                                                                                                                                              &HTUI_kp_kp_tpref_350_200_200 LCTRL K                                   &kp H              &mm_commacexclam_semioexclam  &mm_dotcquest_dbldotoquest  &kp MINUS  &ht_delword_ctrl LCTRL 0
                                                        &magic LAYER_Magic 0  &HTUI_kp_kp_tpref_250_200_125 LGUI SPACE  &HTUI_kp_kp_tpref_250_200_125 LALT ESC                                                                                                                                                                                                                                                                            &HTUI_kp_kp_tpref_250_200_125 RALT DEL  &HTUI_kp_kp_tpref_250_200_125 LGUI K_APP        &magic LAYER_Magic 0
                                                                                                                                                                                                       &HTUI_kp_sk_tpref_250_0_0 LSHFT LSHFT  &HTUI_mo_rep_tpref_280_200_0 LAYER__NAV 0  &kp DEL  &kp BSPC  &HTUI_mo_kp_tpref_250_200_50 LAYER__NUM SPACE  &HTUI_kp_kp_tpref_250_200_125 LALT RET
            >;
        };

        layer__NUM {
            bindings = <
                               &none                                   &none                                &none                                   &none                                  &none                           &none                                                                                      &kp HOME                          &kp LEFT   &kp DOWN                         &kp UP                          &kp RIGHT                               &kp END
                               &none  &HTUI_EurShft_EurShft LS(N8) LS(EQUAL)       &HTUI_EurShft_kp LS(N5) LS(N5)  &HTUI_1tap_kp_tpref LS(RA(EQUAL)) FSLH   &HTUI_1tap_kp_tpref RA(EQUAL) LS(N8)  &HTUI_1tap_kp_tpref LS(N6) TAB                                                                                      &kp BSPC  &HTUI_EurShft_kp MINUS LS(EQUAL)  &kp MINUS  &HTUI_EurShft_kp LS(N1) EQUAL  &HTUI_1tap_kp_tpref RA(N5) LS(N4)  &HTUI_EurShft_kp LS(GRAVE) LS(GRAVE)
                             &kp TAB                                  &kp N1                               &kp N2                                  &kp N3                                 &kp N4                          &kp N5                                                                                        &kp N6                            &kp N7     &kp N8                         &kp N9                             &kp N0                             &kp MINUS
 &HTUI_kp_sk_tpref_250_0_0 LGUI LGUI     &HTUI_kp_sk_tpref_250_0_0 RALT RALT  &HTUI_kp_sk_tpref_250_0_0 LALT LALT   &HTUI_kp_sk_tpref_250_0_0 LSHFT LSHFT  &HTUI_kp_sk_tpref_250_0_0 LCTRL LCTRL                           &none                                                                                       &kp RET             &mm_lcbckspc_lcdelete     &trans                         &trans                             &trans                                 &none
                                                                                                          &kp DEL                                   &none                                  &none                                                                                                                                                           &none      &none                          &none
                                                                                                                                                                                                                                  &HTUI_kp_sk_tpref_250_0_0 LSHFT LSHFT  &kp SPACE  &kp BSPC   &none  &trans   &none
            >;
        };

        layer__NAV {
            bindings = <
     &HTUI_1tap_1tap PSCRN LA(PSCRN)                                &none                                &none                                  &none                                  &none                          &none                                                                                  &kp LG(SPACE)     &none      &none      &none      &none   &none
                             &kp TAB                                &none                            &kp LC(X)        &HTUI_1tap_kp_tpref LC(A) LC(C)                              &kp LC(V)                       &kp BSPC                                                                                       &kp BSPC  &kp HOME  &kp PG_DN  &kp PG_UP    &kp END   &none
                           &kp LC(Y)                            &kp LC(Z)  &HTUI_kp_sk_tpref_250_0_0 LALT LALT  &HTUI_kp_sk_tpref_250_0_0 LSHFT LSHFT  &HTUI_kp_sk_tpref_250_0_0 LCTRL LCTRL  &HTUI_1tap_kp_tpref LC(F) RET                                                                                          &none  &kp LEFT   &kp DOWN     &kp UP  &kp RIGHT   &none
 &HTUI_kp_sk_tpref_250_0_0 LGUI LGUI  &HTUI_kp_sk_tpref_250_0_0 RALT RALT                                &none                                  &none                                  &none                        &kp DEL                                                                                        &kp DEL     &none      &none      &none      &none   &none
                                                                                                         &none                                  &none                                  &none                                                                                                                                   &none      &none      &none
                                                                                                                                                                                                                              &none  &trans  &macro_release_all_mods  &mm_bckspc_delete  &kp SPACE  &kp RET
            >;
        };

        layer__MOUSE {
            bindings = <
                               &none                                &none                            &kp LC(X)                              &kp LC(C)                              &kp LC(V)                       &kp TAB                                                                                &none                                  &none                                  &none                                &none                              &kp F24                              &kp F23
                           &kp LC(Y)                            &kp LC(Z)                       &msc SCRL_LEFT                              &mkp MCLK                        &msc SCRL_RIGHT  &HTUI_1tap_kp_tpref DEL BSPC                                                                              &kp F16                                &kp F18                                &kp F14                              &kp F13                              &kp F20                              &kp F22
                               &none                                &none                                &none                                  &none                                  &none                     &kp SPACE                                                                              &kp F15                                &kp F17                               &mkp MB5                             &mkp MB4                              &kp F19                              &kp F21
 &HTUI_kp_sk_tpref_250_0_0 LGUI LGUI  &HTUI_kp_sk_tpref_250_0_0 RALT RALT  &HTUI_kp_sk_tpref_250_0_0 LALT LALT  &HTUI_kp_sk_tpref_250_0_0 LSHFT LSHFT  &HTUI_kp_sk_tpref_250_0_0 LCTRL LCTRL                       &kp RET                                                                              &kp RET  &HTUI_kp_sk_tpref_250_0_0 LCTRL LCTRL  &HTUI_kp_sk_tpref_250_0_0 LSHFT LSHFT  &HTUI_kp_sk_tpref_250_0_0 LALT LALT  &HTUI_kp_sk_tpref_250_0_0 RALT RALT  &HTUI_kp_sk_tpref_250_0_0 LGUI LGUI
                                                                                          &magic LAYER_Magic 0                                  &none                                  &none                                                                                                                                                     &none                                  &none                 &magic LAYER_Magic 0
                                                                                                                                                                                                                            &mkp RCLK  &mkp LCLK  &tog LAYER__MOUSE  &tog LAYER__MOUSE   &none   &none
            >;
        };

        layer__SWITCH_TESTING {
            bindings = <
 &kp N0  &kp N4                &kp N8  &kp N3  &kp N8  &kp N3                                                  &kp N3  &kp N8  &kp N3                &kp N8  &kp N4  &kp N0
 &kp N1  &kp N5                &kp N9  &kp N4  &kp N9  &kp N4                                                  &kp N4  &kp N9  &kp N4                &kp N9  &kp N5  &kp N1
 &kp N2  &kp N6                &kp N0  &kp N5  &kp N0  &kp N5                                                  &kp N5  &kp N0  &kp N5                &kp N0  &kp N6  &kp N2
 &kp N3  &kp N7                &kp N1  &kp N6  &kp N1  &kp N6                                                  &kp N6  &kp N1  &kp N6                &kp N1  &kp N7  &kp N3
                 &magic LAYER_Magic 0  &kp N7  &kp N2                                                                  &kp N2  &kp N7  &magic LAYER_Magic 0
                                                               &kp N7  &kp N8  &kp N9  &kp N9  &kp N8  &kp N7
            >;
        };

        layer_Magic {
            bindings = <
           &rgb_ug RGB_BRI  &rgb_ug RGB_SAI  &rgb_ug RGB_HUI  &rgb_ug RGB_SPI  &rgb_ug RGB_EFF  &rgb_ug RGB_TOG                                                           &none         &none    &bt BT_CLR         &none   &none   &none
           &rgb_ug RGB_BRD  &rgb_ug RGB_SAD  &rgb_ug RGB_HUD  &rgb_ug RGB_SPD  &rgb_ug RGB_EFR            &none                                                           &none  &out OUT_BLE  &out OUT_USB  &out OUT_TOG   &none   &none
                     &none            &none            &none            &none            &none            &none                                                           &none         &bt_0         &bt_1         &bt_2   &bt_3   &none
 &to LAYER__SWITCH_TESTING            &none            &none            &none            &none            &to 0                                                           &none         &none         &none         &none   &none   &none
                                                      &trans      &bootloader            &none                                                                                          &none   &bootloader        &trans
                                                                                                                  &none   &none  &sys_reset  &sys_reset   &none   &none
            >;
        };

    };
};
